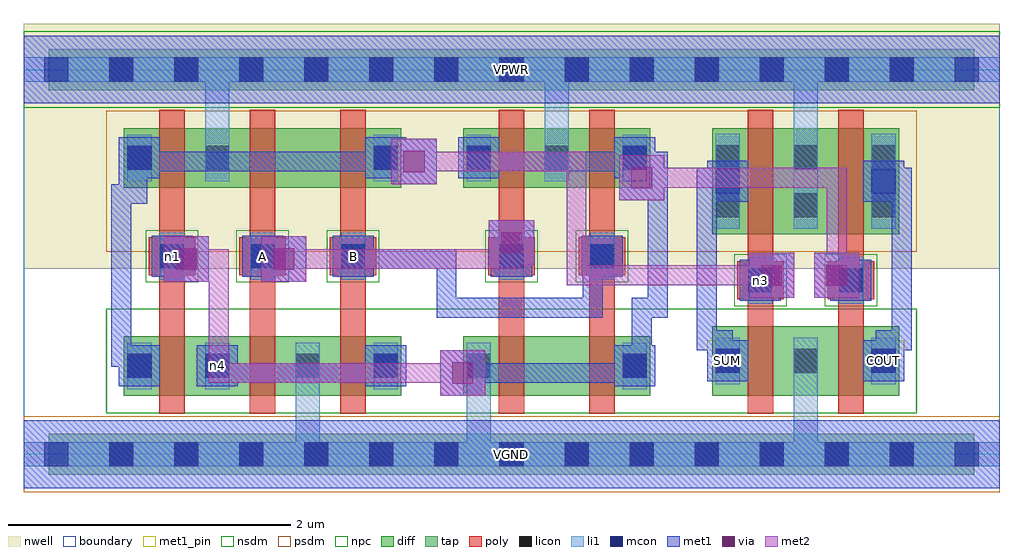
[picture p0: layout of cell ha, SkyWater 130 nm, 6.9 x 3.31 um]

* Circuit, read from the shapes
.subckt ha A B COUT SUM VGND VPWR n1 n3 n4
XM1 n4 n1 n3 VGND sky130_fd_pr__nfet_01v8 w=0.42 l=0.18
XM2 VGND A n4 VGND sky130_fd_pr__nfet_01v8 w=0.42 l=0.18
XM3 n4 B VGND VGND sky130_fd_pr__nfet_01v8 w=0.42 l=0.18
XM4 n2 A VGND VGND sky130_fd_pr__nfet_01v8 w=0.42 l=0.18
XM5 n1 B n2 VGND sky130_fd_pr__nfet_01v8 w=0.42 l=0.18
XM6 VGND n3 SUM VGND sky130_fd_pr__nfet_01v8 w=0.49 l=0.18
XM7 COUT n1 VGND VGND sky130_fd_pr__nfet_01v8 w=0.49 l=0.18
XM8 VPWR n1 n3 VPWR sky130_fd_pr__pfet_01v8 w=0.42 l=0.18
XM9 n5 A VPWR VPWR sky130_fd_pr__pfet_01v8 w=0.42 l=0.18
XM10 n3 B n5 VPWR sky130_fd_pr__pfet_01v8 w=0.42 l=0.18
XM11 VPWR A n1 VPWR sky130_fd_pr__pfet_01v8 w=0.42 l=0.18
XM12 n1 B VPWR VPWR sky130_fd_pr__pfet_01v8 w=0.42 l=0.18
XM13 VPWR n3 SUM VPWR sky130_fd_pr__pfet_01v8 w=0.75 l=0.18
XM14 COUT n1 VPWR VPWR sky130_fd_pr__pfet_01v8 w=0.75 l=0.18
.ends

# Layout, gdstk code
import gdstk
lib = gdstk.Library(unit=1e-6, precision=1e-09)
def R(c, l, rs):  # rectangles x0, y0, x1, y1
    for r in rs: c.add(gdstk.rectangle(r[:2], r[2:], *l))
def A(c, l, x, y, w, h, nx, ny, dx, dy):  # array of equal rectangles
    R(c, l, [(x+i*dx, y+j*dy, x+i*dx+w, y+j*dy+h) for i in range(nx) for j in range(ny)])
nwell = (64, 20)
diff = (65, 20)
tap = (65, 44)
poly = (66, 20)
licon = (66, 44)
li1 = (67, 20)
mcon = (67, 44)
met1_pin = (68, 16)
met1 = (68, 20)
via = (68, 44)
met2 = (69, 20)
nsdm = (93, 44)
psdm = (94, 20)
npc = (95, 20)
boundary = (235, 4)

c_ha = lib.new_cell('ha')
R(c_ha, nwell, [(0,1.31,6.9,3.045)])
R(c_ha, diff, [(0.71,0.415,2.67,0.835), (3.11,0.415,4.43,0.835), (4.87,0.415,6.19,0.905), (4.87,1.555,6.19,2.305), (0.71,1.885,2.67,2.305), (3.11,1.885,4.43,2.305)])
R(c_ha, tap, [(0.18,-0.145,6.72,0.145), (0.18,2.575,6.72,2.865)])
A(c_ha, poly, 0.96, 0.285, 0.18, 2.15, 3, 1, 0.64, 0)
A(c_ha, poly, 0.885, 1.265, 0.33, 0.27, 3, 1, 0.64, 0)
R(c_ha, poly, [(3.36,0.285,3.54,2.435), (4,0.285,4.18,2.435), (5.12,0.285,5.3,2.435), (5.76,0.285,5.94,2.435), (5.045,1.095,5.375,1.365), (5.685,1.095,6.015,1.365), (3.285,1.265,3.615,1.535), (3.925,1.265,4.255,1.535)])
A(c_ha, licon, 0.605, -0.085, 0.17, 0.17, 13, 2, 0.46, 2.72)
A(c_ha, licon, 4.895, 0.575, 0.17, 0.17, 3, 2, 0.55, 1.1)
A(c_ha, licon, 0.965, 1.315, 0.17, 0.17, 3, 1, 0.64, 0)
A(c_ha, licon, 3.135, 2.01, 0.17, 0.17, 3, 1, 0.55, 0)
A(c_ha, licon, 4.895, 2.015, 0.17, 0.17, 3, 1, 0.55, 0)
R(c_ha, licon, [(0.735,0.54,0.905,0.71), (1.285,0.54,1.455,0.71), (1.925,0.54,2.095,0.71), (2.475,0.54,2.645,0.71), (3.135,0.54,3.305,0.71), (4.235,0.54,4.405,0.71), (5.125,1.145,5.295,1.315), (5.765,1.145,5.935,1.315), (3.365,1.315,3.535,1.485), (4.005,1.315,4.175,1.485), (0.735,2.01,0.905,2.18), (1.285,2.01,1.455,2.18), (2.475,2.01,2.645,2.18)])
A(c_ha, li1, 4.895, 0.495, 0.17, 0.33, 3, 1, 0.55, 0)
A(c_ha, li1, 0.965, 1.235, 0.17, 0.33, 3, 1, 0.64, 0)
A(c_ha, li1, 4.895, 1.595, 0.17, 0.67, 3, 1, 0.55, 0)
A(c_ha, li1, 3.135, 1.93, 0.17, 0.33, 3, 1, 0.55, 0)
R(c_ha, li1, [(0,-0.085,6.9,0.085), (1.925,-0.085,2.095,0.79), (3.135,-0.085,3.305,0.79), (5.445,-0.085,5.615,0.825), (0.735,0.46,0.905,0.79), (1.285,0.46,1.455,0.79), (1.925,0.46,2.095,0.79), (2.475,0.46,2.645,0.79), (3.135,0.46,3.305,0.79), (4.235,0.46,4.405,0.79), (5.125,1.065,5.295,1.395), (5.765,1.065,5.935,1.395), (3.365,1.235,3.535,1.565), (4.005,1.235,4.175,1.565), (5.445,1.595,5.615,2.805), (0.735,1.93,0.905,2.26), (1.285,1.93,1.455,2.26), (1.285,1.93,1.455,2.805), (2.475,1.93,2.645,2.26), (3.685,1.93,3.855,2.805), (0,2.635,6.9,2.805)])
A(c_ha, mcon, 0.145, -0.085, 0.17, 0.17, 15, 2, 0.46, 2.72)
A(c_ha, mcon, 0.965, 1.315, 0.17, 0.17, 3, 1, 0.64, 0)
R(c_ha, mcon, [(0.735,0.54,0.905,0.71), (1.285,0.54,1.455,0.71), (2.475,0.54,2.645,0.71), (4.235,0.54,4.405,0.71), (4.895,0.575,5.065,0.745), (5.995,0.575,6.165,0.745), (5.125,1.145,5.295,1.315), (5.765,1.145,5.935,1.315), (3.365,1.315,3.535,1.485), (4.005,1.315,4.175,1.485), (4.895,1.845,5.065,2.015), (5.995,1.845,6.165,2.015), (0.735,2.01,0.905,2.18), (2.475,2.01,2.645,2.18), (3.135,2.01,3.305,2.18), (4.235,2.01,4.405,2.18)])
R(c_ha, met1_pin, [(0,-0.24,6.9,0.24), (4.835,0.515,5.125,0.805), (5.935,0.515,6.225,0.805), (1.545,1.255,1.835,1.545), (2.185,1.255,2.475,1.545), (0,2.48,6.9,2.96)])
A(c_ha, met1, 0.905, 1.255, 0.29, 0.29, 3, 1, 0.64, 0)
R(c_ha, met1, [(0,-0.24,6.9,0.24), (2.945,0.415,3.265,0.735), (0.675,0.48,0.965,0.77), (1.225,0.48,1.515,0.77), (2.415,0.48,2.705,0.77), (4.175,0.48,4.465,0.77), (1.31,0.505,1.45,0.645), (1.31,0.505,2.6,0.645), (2.46,0.505,2.6,0.645), (3.035,0.505,4.325,0.645), (4.185,0.505,4.325,0.645), (4.185,0.505,4.325,0.76), (4.835,0.515,5.125,0.805), (5.935,0.515,6.225,0.805), (0.62,0.62,0.875,0.76), (0.62,0.62,0.76,1.91), (0.735,0.62,0.875,0.76), (4.185,0.62,4.44,0.76), (4.3,0.62,4.44,1.105), (4.875,0.62,5.015,0.76), (4.875,0.62,5.015,0.875), (6.025,0.62,6.165,0.76), (6.025,0.62,6.165,0.875), (4.76,0.735,5.015,0.875), (4.76,0.735,4.9,2.025), (6.025,0.735,6.28,0.875), (6.14,0.735,6.28,2.025), (2.92,0.965,3.06,1.45), (2.92,0.965,4.095,1.105), (3.955,0.965,4.095,1.45), (4.3,0.965,4.555,1.105), (4.415,0.965,4.555,2.14), (5.065,1.085,5.355,1.375), (5.705,1.085,5.995,1.375), (5.13,1.105,5.45,1.425), (5.59,1.105,5.91,1.425), (5.105,1.195,5.245,1.335), (5.105,1.195,5.36,1.335), (5.68,1.195,5.935,1.335), (5.795,1.195,5.935,1.335), (0.99,1.22,1.31,1.54), (1.68,1.22,2,1.54), (3.305,1.255,3.595,1.545), (3.945,1.255,4.235,1.545), (0.965,1.31,1.105,1.45), (0.965,1.31,1.22,1.45), (1.655,1.31,1.795,1.45), (1.655,1.31,1.91,1.45), (2.23,1.31,2.37,1.45), (2.23,1.31,3.06,1.45), (3.38,1.31,3.52,1.45), (3.38,1.31,3.52,1.565), (3.955,1.31,4.095,1.45), (3.29,1.335,3.61,1.655), (0.62,1.77,0.875,1.91), (0.735,1.77,0.875,2.14), (4.835,1.785,5.125,2.075), (5.935,1.785,6.225,2.075), (4.21,1.795,4.53,2.115), (4.3,1.885,4.555,2.025), (4.76,1.885,5.015,2.025), (4.875,1.885,5.015,2.025), (6.025,1.885,6.165,2.025), (6.025,1.885,6.28,2.025), (0.675,1.91,0.875,1.95), (0.675,1.91,0.76,1.95), (2.6,1.91,2.92,2.23), (0.675,1.95,0.965,2.24), (2.415,1.95,2.705,2.24), (3.075,1.95,3.365,2.24), (4.175,1.95,4.465,2.24), (0.735,2,0.875,2.14), (0.735,2,2.6,2.14), (2.46,2,2.6,2.14), (2.46,2,2.83,2.14), (3.15,2,3.29,2.14), (3.15,2,4.44,2.14), (4.3,2,4.44,2.14), (4.3,2,4.555,2.14), (0,2.48,6.9,2.96)])
R(c_ha, via, [(3.03,0.5,3.18,0.65), (5.215,1.19,5.365,1.34), (5.675,1.19,5.825,1.34), (1.075,1.305,1.225,1.455), (1.765,1.305,1.915,1.455), (3.375,1.42,3.525,1.57), (4.295,1.88,4.445,2.03), (2.685,1.995,2.835,2.145)])
R(c_ha, met2, [(2.945,0.415,3.265,0.735), (1.31,0.505,1.45,1.45), (1.31,0.505,3.175,0.645), (5.13,1.105,5.45,1.425), (5.59,1.105,5.91,1.425), (3.84,1.195,5.36,1.335), (3.84,1.195,3.98,2.14), (5.68,1.195,5.82,2.025), (0.99,1.22,1.31,1.54), (1.68,1.22,2,1.54), (1.08,1.31,1.45,1.45), (1.77,1.31,3.52,1.45), (3.38,1.31,3.52,1.565), (3.29,1.335,3.61,1.655), (4.21,1.795,4.53,2.115), (4.3,1.885,5.82,2.025), (2.6,1.91,2.92,2.23), (2.69,2,3.98,2.14)])
R(c_ha, nsdm, [(0.585,0.29,6.315,1.03), (0,2.45,6.9,2.99)])
R(c_ha, psdm, [(0,-0.27,6.9,0.27), (0.585,1.43,6.315,2.43)])
A(c_ha, npc, 0.865, 1.215, 0.37, 0.37, 3, 1, 0.64, 0)
R(c_ha, npc, [(5.025,1.045,5.395,1.415), (5.665,1.045,6.035,1.415), (3.265,1.215,3.635,1.585), (3.905,1.215,4.275,1.585)])
R(c_ha, boundary, [(0,0,6.9,2.72)])
c_ha.add(gdstk.Label('n1', (1.05,1.4), layer=67, texttype=5))
c_ha.add(gdstk.Label('n3', (5.21,1.23), layer=67, texttype=5))
c_ha.add(gdstk.Label('n4', (1.37,0.625), layer=67, texttype=5))
c_ha.add(gdstk.Label('A', (1.69,1.4), layer=68, texttype=5))
c_ha.add(gdstk.Label('B', (2.33,1.4), layer=68, texttype=5))
c_ha.add(gdstk.Label('SUM', (4.98,0.66), layer=68, texttype=5))
c_ha.add(gdstk.Label('COUT', (6.08,0.66), layer=68, texttype=5))
c_ha.add(gdstk.Label('VPWR', (3.45,2.72), layer=68, texttype=5))
c_ha.add(gdstk.Label('VGND', (3.45,0), layer=68, texttype=5))
c_ha.add(gdstk.Label('A', (1.69,1.4), layer=68, texttype=16))
c_ha.add(gdstk.Label('B', (2.33,1.4), layer=68, texttype=16))
c_ha.add(gdstk.Label('SUM', (4.98,0.66), layer=68, texttype=16))
c_ha.add(gdstk.Label('COUT', (6.08,0.66), layer=68, texttype=16))
c_ha.add(gdstk.Label('VPWR', (3.45,2.72), layer=68, texttype=16))
c_ha.add(gdstk.Label('VGND', (3.45,0), layer=68, texttype=16))

lib.write_gds('ha.gds')
